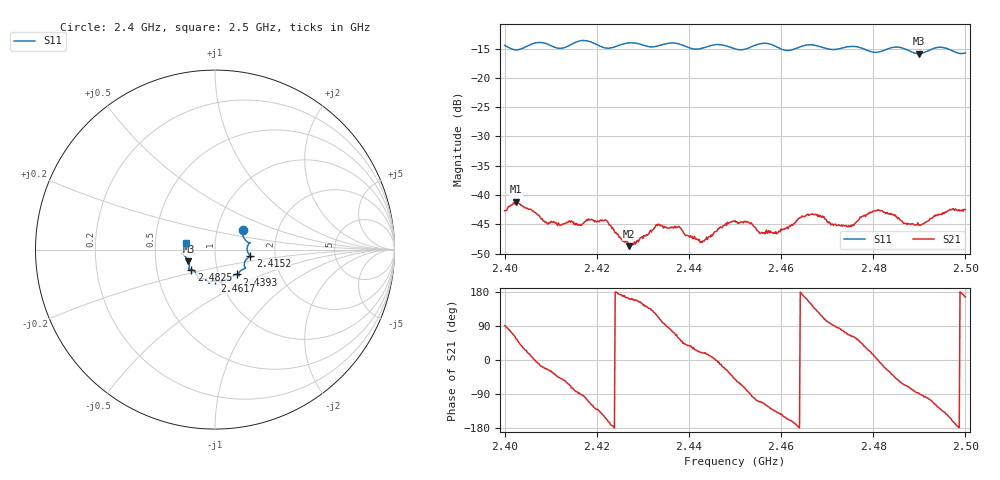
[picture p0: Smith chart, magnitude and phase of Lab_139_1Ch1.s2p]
# Hz S RI R 50
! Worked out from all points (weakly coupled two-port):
!   601 points, 2.4 GHz to 2.5 GHz, reference 50 ohm
!   highest |S21| = -41.17 dB at 2.4025 GHz (marker M1); lowest = -48.7 dB at 2.427 GHz (marker M2)
!   lowest |S11| = -15.9 dB at 2.4898 GHz (marker M3), VSWR 1.38, Z = 36.9 - j4.9 ohm
!   |S11| at or under -10 dB: start of sweep to end of sweep
!   S12 and S22 are empty: the file has one direction only
!   S11 on the Smith chart (normalised r, x): 2.4 GHz: 1.33, +0.30; 2.4152 GHz: 1.48, -0.11; 2.4393 GHz: 1.23, -0.35; 2.4617 GHz: 0.94, -0.33; 2.4825 GHz: 0.75, -0.17; 2.5 GHz: 0.72, +0.05
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2.4e9  0.1551 0.1092  -7.55e-05 0.00734  0 0  0 0
2.4025e9  0.1592 0.0685  0.00495 0.0072  0 0  0 0
2.409e9  0.1931 0.0369  0.0054 -0.00233  0 0  0 0
2.412167e9  0.1789 0.00157  0.00364 -0.00417  0 0  0 0
2.415167e9  0.1962 -0.0362  0.000983 -0.00566  0 0  0 0
2.416667e9  0.2043 -0.0418  -0.000137 -0.00549  0 0  0 0
2.422e9  0.169 -0.0619  -0.00549 -0.0026  0 0  0 0
2.427e9  0.1704 -0.1034  -0.00346 0.00117  0 0  0 0
2.433333e9  0.133 -0.133  -0.00217 0.0052  0 0  0 0
2.439333e9  0.1237 -0.1382  0.00337 0.00296  0 0  0 0
2.442833e9  0.0917 -0.1538  0.0037 0.0013  0 0  0 0
2.45e9  0.0668 -0.1645  0.00383 -0.00465  0 0  0 0
2.455833e9  0.0375 -0.1936  -0.00186 -0.00443  0 0  0 0
2.461667e9  0.000952 -0.1718  -0.00489 -0.00208  0 0  0 0
2.466667e9  -0.0336 -0.1888  -0.00565 0.00389  0 0  0 0
2.474833e9  -0.091 -0.1617  0.00214 0.0049  0 0  0 0
2.479833e9  -0.1067 -0.1279  0.00692 0.00195  0 0  0 0
2.4825e9  -0.1325 -0.1112  0.0067 -0.00245  0 0  0 0
2.483333e9  -0.1399 -0.1104  0.00601 -0.00336  0 0  0 0
2.489833e9  -0.1477 -0.0648  0.000251 -0.00554  0 0  0 0
2.4945e9  -0.1812 -0.0224  -0.00424 -0.00533  0 0  0 0
2.5e9  -0.1597 0.0354  -0.00726 0.00179  0 0  0 0
